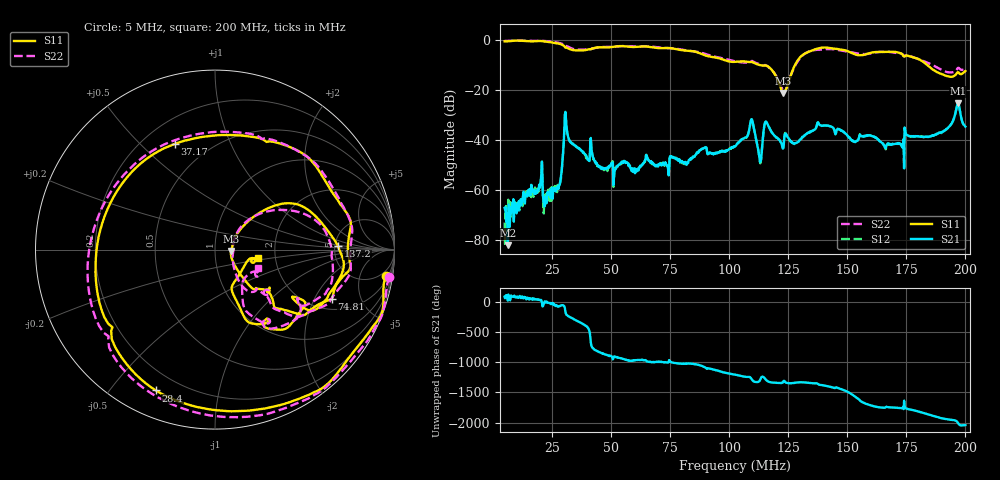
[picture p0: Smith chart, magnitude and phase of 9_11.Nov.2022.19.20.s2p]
!Keysight Technologies N9917A: A.12.46
!Date: Friday, 11 November 2022 19:20:49
!Timezone: (UTC) Coordinated Universal Time
!Model: N9917A
!Serial: MY56071016
!GPS Latitude:
!GPS Longitude:
!GPS TimeStamp: 0001-01-01 00:00:00Z
!GPS Seconds Since Last Read: 0
!CHECKSUM:0092925626
!Correction: S11(ON U)S21(ON U)S12(ON U)S22(ON U)
!S2P File: Measurements:S11,S21,S12,S22:
# Hz S DB R 50
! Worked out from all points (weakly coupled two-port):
!   1001 points, 5 MHz to 200 MHz, reference 50 ohm
!   highest |S21| = -25.12 dB at 196.9 MHz (marker M1); lowest = -82.1 dB at 6.365 MHz (marker M2)
!   lowest |S11| = -21.0 dB at 123 MHz (marker M3), VSWR 1.20, Z = 59.7 - j0.997 ohm
!   |S11| at or under -10 dB: 113.7 MHz to 115.2 MHz (1.543 MHz wide, 1.35 % of centre); 115.5 MHz to 127.8 MHz (12.31 MHz wide, 10.1 % of centre); 184.1 MHz to end of sweep
!   |S22| runs from -19.9 to 0.0 dB; largest |S21 - S12| = 0.00071
!   S11 on the Smith chart (normalised r, x): 5 MHz: 3, -12; 28.4 MHz: 0.12, -0.66; 37.17 MHz: 0.33, +0.64; 74.81 MHz: 2.54, -2.78; 137.2 MHz: 5.34, +0.39; 200 MHz: 1.62, -0.16
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5000000  -0.34 -8.9  -67.11 82.2  -72.94 96.9  -0.16 -8.9
6365000  -0.35 -12.3  -82.07 18.2  -72.18 94.9  -0.18 -12.2
2.0015e7  -0.21 -51.7  -58.48 25.5  -57.85 26.1  -0.13 -51.7
2.216e7  -0.44 -61.7  -64.16 -7.9  -63.56 -11.8  -0.26 -61.9
2.84e7  -1.40 -112.8  -57.40 -71.6  -57.07 -71.4  -1.09 -111.5
3.0935e7  -2.80 -145.2  -31.40 164.2  -31.43 163.9  -2.22 -143.3
3.7175e7  -4.01 110.9  -43.87 12.5  -43.82 13.1  -3.74 113.5
3.7565e7  -4.01 105.7  -44.28 5.5  -44.13 1.6  -3.75 108.2
4.829e7  -2.80 29.7  -51.40 -160.0  -50.95 -162.5  -2.62 30.9
7.013e7  -3.07 -17.0  -49.94 87.1  -49.53 82.2  -2.78 -17.1
7.481e7  -3.03 -22.9  -47.12 105.8  -47.24 109.9  -3.07 -24.5
1.025e8  -8.57 -38.9  -42.50 -125.0  -42.25 -125.9  -8.36 -41.8
1.0952e8  -8.60 -36.0  -31.53 160.1  -31.58 160.1  -8.22 -38.9
1.12835e8  -9.80 -42.7  -46.80 125.5  -46.79 126.7  -9.56 -43.1
1.1576e8  -10.04 -44.9  -32.69 141.1  -32.70 141.3  -10.04 -48.5
1.22975e8  -21.00 -5.3  -42.93 121.2  -42.92 120.7  -19.85 -10.5
1.35065e8  -4.05 11.2  -36.24 92.7  -36.34 92.5  -4.07 8.5
1.3721e8  -3.28 1.6  -33.64 89.4  -33.69 89.0  -3.72 -0.7
1.6763e8  -4.56 -43.6  -41.50 53.7  -41.76 52.8  -4.59 -42.5
1.9064e8  -13.75 -56.1  -36.47 -131.4  -36.45 -131.2  -12.15 -52.3
1.9688e8  -12.68 -16.5  -25.12 155.5  -25.17 155.6  -10.97 -29.9
2e8  -12.25 -10.8  -34.54 121.1  -34.52 120.2  -11.62 -22.7
